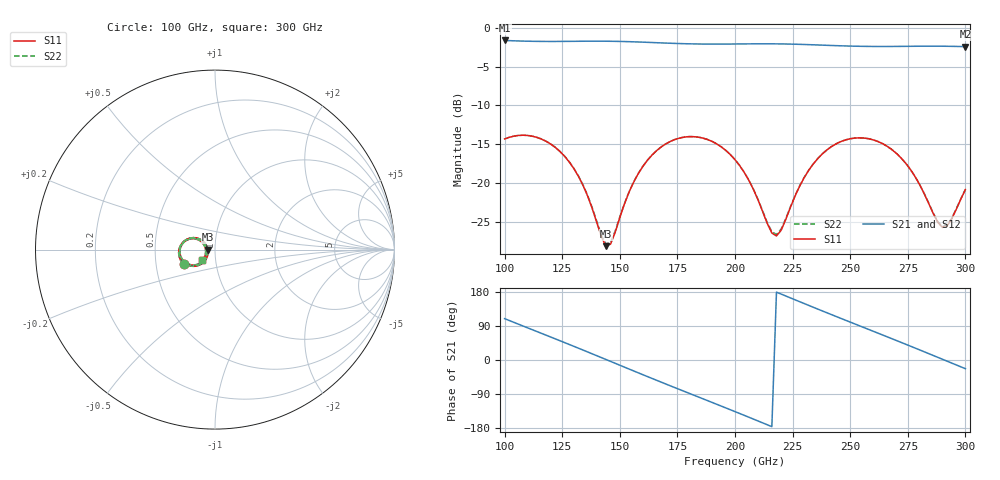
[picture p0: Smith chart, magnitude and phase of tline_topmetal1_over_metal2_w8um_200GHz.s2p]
#  GHZ S DB R 50
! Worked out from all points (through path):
!   101 points, 100 GHz to 300 GHz, reference 50 ohm
!   highest |S21| = -1.65 dB at 100 GHz (marker M1); lowest = -2.4 dB at 300 GHz (marker M2)
!   group delay of S21, straight-line fit = 6.84 ps
!   lowest |S11| = -28.1 dB at 144 GHz (marker M3), VSWR 1.08, Z = 46.2 + j0.0334 ohm
!   |S11| at or under -10 dB: start of sweep to end of sweep
!   |S22| runs from -27.8 to -13.8 dB; largest |S21 - S12| = 1.3e-13
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100  -14.30 -154.9  -1.65 109.1  -1.65 109.1  -14.30 -155.1
108  -13.82 -171.4  -1.73 89.7  -1.73 89.7  -13.81 -171.4
116  -14.31 172.4  -1.77 70.4  -1.77 70.4  -14.30 172.5
126  -16.51 154.0  -1.77 46.0  -1.77 46.0  -16.49 154.2
134  -20.23 144.5  -1.75 26.3  -1.75 26.3  -20.17 145.0
144  -28.06 179.5  -1.75 1.3  -1.75 1.3  -27.78 179.4
146  -27.80 -160.2  -1.75 -3.7  -1.75 -3.7  -27.55 -161.0
158  -18.75 -133.7  -1.84 -33.8  -1.84 -33.8  -18.73 -134.4
168  -15.32 -149.0  -1.96 -58.5  -1.96 -58.5  -15.31 -149.4
184  -14.06 -179.4  -2.10 -97.3  -2.10 -97.3  -14.06 -179.5
200  -16.96 152.9  -2.10 -136.2  -2.10 -136.2  -16.94 153.0
210  -22.13 148.1  -2.08 -160.9  -2.08 -160.9  -22.06 148.4
218  -26.75 -172.0  -2.09 179.1  -2.09 179.1  -26.56 -172.4
226  -21.68 -137.1  -2.13 159.0  -2.13 159.0  -21.62 -137.9
234  -17.49 -140.8  -2.21 139.1  -2.21 139.1  -17.48 -141.4
250  -14.27 -167.0  -2.37 100.0  -2.37 100.0  -14.26 -167.4
258  -14.27 178.5  -2.41 80.7  -2.41 80.7  -14.26 178.1
268  -15.64 161.4  -2.42 56.5  -2.42 56.5  -15.64 161.2
280  -20.09 149.6  -2.39 27.0  -2.39 27.0  -20.06 149.5
290  -25.65 -179.3  -2.39 2.1  -2.39 2.1  -25.54 -179.7
294  -24.60 -154.2  -2.40 -7.9  -2.40 -7.9  -24.51 -155.0
300  -20.80 -139.9  -2.44 -22.9  -2.44 -22.9  -20.77 -140.8
